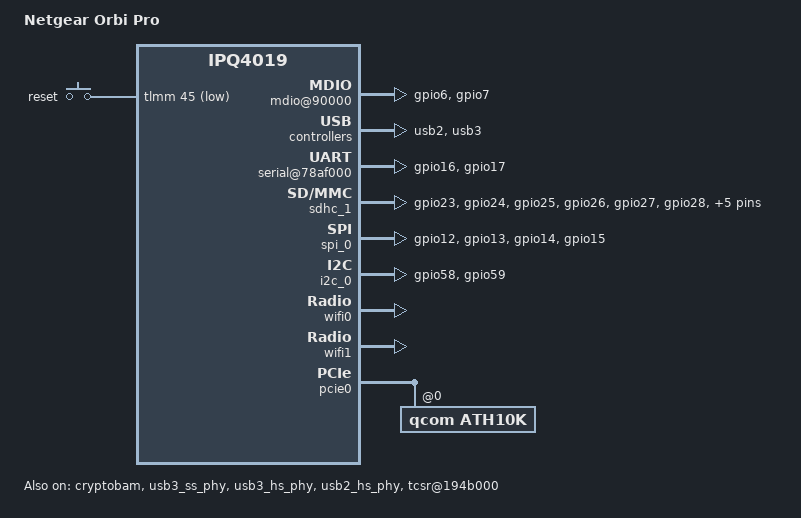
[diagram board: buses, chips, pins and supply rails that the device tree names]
/* Copyright (c) 2015, The Linux Foundation. All rights reserved.
 * Copyright (c) 2018, Robert Marko <robimarko@gmail.com>
 *
 * Permission to use, copy, modify, and/or distribute this software for any
 * purpose with or without fee is hereby granted, provided that the above
 * copyright notice and this permission notice appear in all copies.
 *
 * THE SOFTWARE IS PROVIDED "AS IS" AND THE AUTHOR DISCLAIMS ALL WARRANTIES
 * WITH REGARD TO THIS SOFTWARE INCLUDING ALL IMPLIED WARRANTIES OF
 * MERCHANTABILITY AND FITNESS. IN NO EVENT SHALL THE AUTHOR BE LIABLE FOR
 * ANY SPECIAL, DIRECT, INDIRECT, OR CONSEQUENTIAL DAMAGES OR ANY DAMAGES
 * WHATSOEVER RESULTING FROM LOSS OF USE, DATA OR PROFITS, WHETHER IN AN
 * ACTION OF CONTRACT, NEGLIGENCE OR OTHER TORTIOUS ACTION, ARISING OUT OF
 * OR IN CONNECTION WITH THE USE OR PERFORMANCE OF THIS SOFTWARE.
 *
 */

#include "qcom-ipq4019.dtsi"
#include "qcom-ipq4019-bus.dtsi"
#include <dt-bindings/gpio/gpio.h>
#include <dt-bindings/input/input.h>
#include <dt-bindings/soc/qcom,tcsr.h>

/ {
	model = "Netgear Orbi Pro";
	compatible = "netgear,orbipro", "qcom,ipq4019";

	aliases {
		sdhc1 = &sdhc_1;
	};

	soc {
		mdio@90000 {
			status = "okay";
			pinctrl-0 = <&mdio_pins>;
			pinctrl-names = "default";
		};

		ess-psgmii@98000 {
			status = "okay";
		};

		counter@4a1000 {
			compatible = "qcom,qca-gcnt";
			reg = <0x4a1000 0x4>;
		};

		tcsr@1949000 {
			compatible = "qcom,tcsr";
			reg = <0x1949000 0x100>;
			qcom,wifi_glb_cfg = <TCSR_WIFI_GLB_CFG>;
		};

		tcsr@194b000 {
			/* select hostmode */
			compatible = "qcom,tcsr";
			reg = <0x194b000 0x100>;
			qcom,usb-hsphy-mode-select = <TCSR_USB_HSPHY_HOST_MODE>;
			status = "okay";
		};

		ess_tcsr@1953000 {
			compatible = "qcom,tcsr";
			reg = <0x1953000 0x1000>;
			qcom,ess-interface-select = <TCSR_ESS_PSGMII>;
		};

		tcsr@1957000 {
			compatible = "qcom,tcsr";
			reg = <0x1957000 0x100>;
			qcom,wifi_noc_memtype_m0_m2 = <TCSR_WIFI_NOC_MEMTYPE_M0_M2>;
		};

		usb2: usb2@60f8800 {
			status = "okay";
		};

		serial@78af000 {
			pinctrl-0 = <&serial_pins>;
			pinctrl-names = "default";
			status = "okay";
		};

		usb3: usb3@8af8800 {
			status = "okay";
		};

		crypto@8e3a000 {
			status = "okay";
		};

		watchdog@b017000 {
			status = "okay";
		};

		ess-switch@c000000 {
			status = "okay";
			switch_lan_bmp = <0x10>; /* lan port bitmap */
		};

		edma@c080000 {
			status = "okay";
		};

		gpio-keys {
			compatible = "gpio-keys";

			reset {
				label = "reset";
				gpios = <&tlmm 45 GPIO_ACTIVE_LOW>;
				linux,code = <KEY_RESTART >;
			};
		};

		vccq_sd0: regulator@1948000 {
			status = "okay";
		};

		sdhc_1: sdhci@7824000{
			status = "okay";
			qcom,bus-speed-mode = "HS200_1p8v", "DDR_1p8v";
			qcom,clk-rates = <400000 25000000
					  50000000 100000000
					  192000000 384000000>;
			vqmmc-supply = <&vccq_sd0>;
			pinctrl-0 = <&sd_0_pins>;
			pinctrl-names = "default";
			cd-gpios = <&tlmm 22 0x1>;
			sd-ldo-gpios = <&tlmm 33 0x1>;
		};
	};
};

&tlmm {
	serial_pins: serial_pinmux {
		mux {
			pins = "gpio16", "gpio17";
			function = "blsp_uart0";
			bias-disable;
		};

		pulldowns {
			pins = "gpio16";
			bias-pull-down;
		};
	};

	i2c_0_pins: i2c_0_pinmux {
		pinmux {
			function = "blsp_i2c0";
			pins = "gpio58", "gpio59";
			bias-disable;
		};
	};

	spi_0_pins: spi_0_pinmux {
		mux {
			pins = "gpio12", "gpio13", "gpio14", "gpio15";
			function = "blsp_spi0";
			bias-disable;
		};
	};

	sd_0_pins: sd_0_pinmux {
		sd0 {
			pins = "gpio23";
			function = "sdio";
			drive-strength = <10>;
		};
		sd1 {
			pins = "gpio24";
			function = "sdio";
			drive-strength = <10>;
		};
		sd2 {
			pins = "gpio25";
			function = "sdio";
			drive-strength = <10>;
		};
		sd3 {
			pins = "gpio26";
			function = "sdio";
			drive-strength = <10>;
		};
		sdclk {
			pins = "gpio27";
			function = "sdio";
			drive-strength = <16>;
		};
		sdcmd {
			pins = "gpio28";
			function = "sdio";
			drive-strength = <10>;
		};
		sd4 {
			pins = "gpio29";
			function = "sdio";
			drive-strength = <10>;
		};
		sd5 {
			pins = "gpio30";
			function = "sdio";
			drive-strength = <10>;
		};
		sd6 {
			pins = "gpio31";
			function = "sdio";
			drive-strength = <10>;
		};
		sd7 {
			pins = "gpio32";
			function = "sdio";
			drive-strength = <10>;
			bias-disable;
		};
	};

	mdio_pins: mdio_pinmux {
		mux_1 {
			pins = "gpio6";
			function = "mdio";
			bias-bus-hold;
		};
		mux_2 {
			pins = "gpio7";
			function = "mdc";
			bias-bus-hold;
		};
	};
};

&blsp_dma {
	status = "okay";
};

&spi_0 {
	pinctrl-0 = <&spi_0_pins>;
	pinctrl-names = "default";
	status = "okay";

	/*m25p80@0 {
		#address-cells = <1>;
		#size-cells = <1>;
		reg = <0>;
		compatible = "n25q128a11";
		linux,modalias = "m25p80", "n25q128a11";
		spi-max-frequency = <24000000>;
		use-default-sizes;
	};*/
};

&i2c_0 {
	pinctrl-0 = <&i2c_0_pins>;
	pinctrl-names = "default";

	status = "okay";
};

&cryptobam {
	status = "okay";
};

&wifi0 {
	status = "okay";
	qcom,ath10k-calibration-variant = "Netgear-Orbi-Pro";
};

&wifi1 {
	status = "okay";
	qcom,ath10k-calibration-variant = "Netgear-Orbi-Pro";
};

&usb3_ss_phy {
	status = "okay";
};

&usb3_hs_phy {
	status = "okay";
};

&usb2_hs_phy {
	status = "okay";
};

&pcie0 {
	status = "okay";
	perst-gpio = <&tlmm 38 GPIO_ACTIVE_LOW>;
	wake-gpio = <&tlmm 40 GPIO_ACTIVE_LOW>;

	pcie@0 {
		reg = <0 0 0 0 0>;
		#interrupt-cells = <1>;
		#size-cells = <2>;
		#address-cells = <3>;
		device_type = "pci";

		ath10k@0,0 {
			compatible = "qcom,ath10k";
			status = "okay";
			reg = <0 0 0 0 0>;
			device_type = "pci";
			qcom,ath10k-calibration-variant = "Netgear-Orbi-Pro";
		};
	};
};
